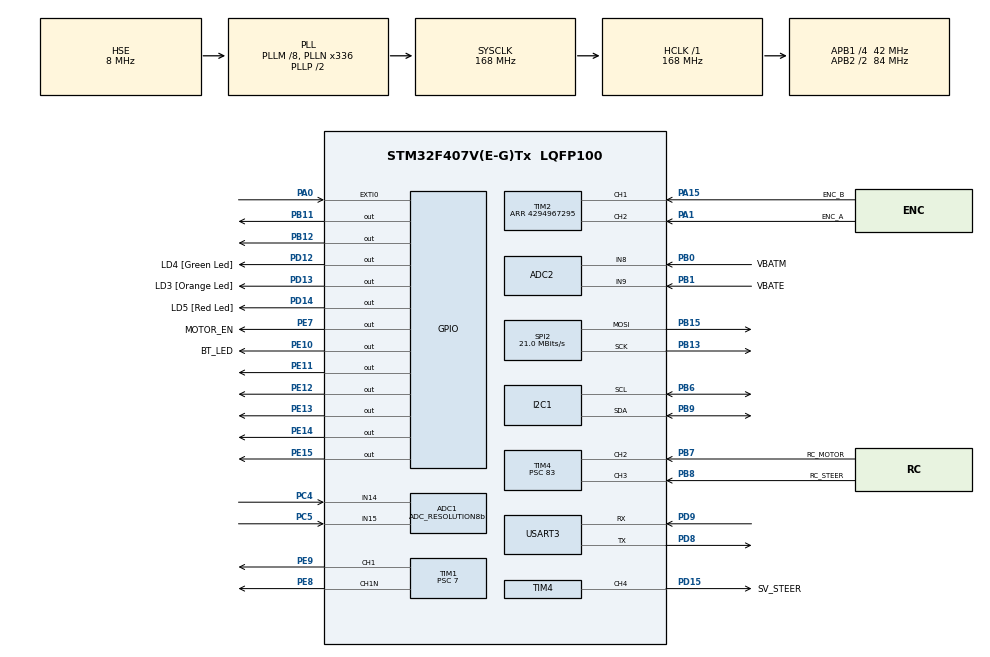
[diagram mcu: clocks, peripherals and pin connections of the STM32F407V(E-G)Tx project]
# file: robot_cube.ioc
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ADC1.Channel=ADC_CHANNEL_14
ADC1.Channel-10\#ChannelRegularConversion=ADC_CHANNEL_15
ADC1.Channel-7\#ChannelRegularConversion=ADC_CHANNEL_14
ADC1.Channel-IN14=ADC_CHANNEL_14
ADC1.DMAContinuousRequests=ENABLE
ADC1.EOCSelection=EOC_SEQ_CONV
ADC1.ExternalTrigConv=ADC_EXTERNALTRIGCONV_T3_TRGO
ADC1.ExternalTrigConvEdge=ADC_EXTERNALTRIGCONVEDGE_RISING
ADC1.Mode=__NULL
ADC1.NbrOfConversion=2
ADC1.Rank-10\#ChannelRegularConversion=2
ADC1.Resolution=ADC_RESOLUTION8b
ADC1.SamplingTime-10\#ChannelRegularConversion=ADC_SAMPLETIME_56CYCLES
ADC1.SamplingTime-7\#ChannelRegularConversion=ADC_SAMPLETIME_56CYCLES
ADC1.ScanConvMode=ENABLE
ADC1.master=1
ADC2.Channel=ADC_CHANNEL_8
ADC2.Channel-0\#ChannelRegularConversion=ADC_CHANNEL_9
ADC2.Channel-3\#ChannelRegularConversion=ADC_CHANNEL_8
ADC2.Channel-IN9=ADC_CHANNEL_9
ADC2.DMAContinuousRequests=ENABLE
ADC2.NbrOfConversion=2
ADC2.Rank-3\#ChannelRegularConversion=2
ADC2.Resolution=ADC_RESOLUTION12b
ADC2.SamplingTime-0\#ChannelRegularConversion=ADC_SAMPLETIME_56CYCLES
ADC2.SamplingTime-3\#ChannelRegularConversion=ADC_SAMPLETIME_56CYCLES
ADC2.ScanConvMode=ENABLE
Dma.ADC1.0.Channel=DMA_CHANNEL_0
Dma.ADC1.0.Direction=DMA_PERIPH_TO_MEMORY
Dma.ADC1.0.FIFOMode=DMA_FIFOMODE_DISABLE
Dma.ADC1.0.Instance=DMA2_Stream0
Dma.ADC1.0.MemDataAlignment=DMA_MDATAALIGN_HALFWORD
Dma.ADC1.0.MemInc=DMA_MINC_ENABLE
Dma.ADC1.0.Mode=DMA_CIRCULAR
Dma.ADC1.0.PeriphDataAlignment=DMA_PDATAALIGN_HALFWORD
Dma.ADC1.0.PeriphInc=DMA_PINC_DISABLE
Dma.ADC1.0.Priority=DMA_PRIORITY_HIGH
Dma.Request0=ADC1
Dma.Request1=USART3_TX
Dma.Request2=USART3_RX
Dma.USART3_RX.2.Channel=DMA_CHANNEL_4
Dma.USART3_RX.2.Direction=DMA_PERIPH_TO_MEMORY
Dma.USART3_RX.2.FIFOMode=DMA_FIFOMODE_DISABLE
Dma.USART3_RX.2.Instance=DMA1_Stream1
Dma.USART3_RX.2.MemDataAlignment=DMA_MDATAALIGN_BYTE
Dma.USART3_RX.2.MemInc=DMA_MINC_ENABLE
Dma.USART3_RX.2.Mode=DMA_CIRCULAR
Dma.USART3_RX.2.PeriphDataAlignment=DMA_PDATAALIGN_BYTE
Dma.USART3_RX.2.PeriphInc=DMA_PINC_DISABLE
Dma.USART3_RX.2.Priority=DMA_PRIORITY_HIGH
Dma.USART3_TX.1.Channel=DMA_CHANNEL_4
Dma.USART3_TX.1.Direction=DMA_MEMORY_TO_PERIPH
Dma.USART3_TX.1.FIFOMode=DMA_FIFOMODE_ENABLE
Dma.USART3_TX.1.FIFOThreshold=DMA_FIFO_THRESHOLD_1QUARTERFULL
Dma.USART3_TX.1.Instance=DMA1_Stream3
Dma.USART3_TX.1.MemBurst=DMA_MBURST_SINGLE
Dma.USART3_TX.1.MemDataAlignment=DMA_MDATAALIGN_BYTE
Dma.USART3_TX.1.MemInc=DMA_MINC_ENABLE
Dma.USART3_TX.1.Mode=DMA_NORMAL
Dma.USART3_TX.1.PeriphBurst=DMA_PBURST_SINGLE
Dma.USART3_TX.1.PeriphDataAlignment=DMA_PDATAALIGN_BYTE
Dma.USART3_TX.1.PeriphInc=DMA_PINC_DISABLE
Dma.USART3_TX.1.Priority=DMA_PRIORITY_LOW
FREERTOS.HEAP_NUMBER=1
FREERTOS.INCLUDE_vTaskDelayUntil=1
FREERTOS.INCLUDE_vTaskDelete=0
FREERTOS.INCLUDE_vTaskPrioritySet=1
FREERTOS.Tasks01=defaultTask,0,128,StartDefaultTask
FREERTOS.configCHECK_FOR_STACK_OVERFLOW=2
FREERTOS.configUSE_MALLOC_FAILED_HOOK=1
Mcu.Family=STM32F4
Mcu.Name=STM32F407V(E-G)Tx
Mcu.Package=LQFP100
NVIC.DMA1_Stream1_IRQn=true\:5\:0\:true
NVIC.DMA1_Stream3_IRQn=true\:5\:0\:true
NVIC.DMA2_Stream0_IRQn=true\:5\:0\:true
NVIC.EXTI0_IRQn=true\:5\:0\:true
NVIC.PriorityGroup=NVIC_PRIORITYGROUP_4
NVIC.SPI2_IRQn=true\:5\:0\:true
NVIC.TIM4_IRQn=true\:5\:0\:true
NVIC.TIM6_DAC_IRQn=true\:5\:0\:true
NVIC.USART3_IRQn=true\:5\:0\:false
PA0-WKUP.GPIO_ModeDefaultEXTI=GPIO_MODE_IT_RISING
PA0-WKUP.GPIO_PuPd=GPIO_NOPULL
PA0-WKUP.Signal=GPXTI0
PA1.GPIO_Label=ENC_A
PA1.GPIO_ModeDefaultPP=GPIO_MODE_AF_PP
PA1.GPIO_PuPd=GPIO_NOPULL
PA1.GPIO_Speed=GPIO_SPEED_LOW
PA1.Signal=S_TIM2_CH2
PA15.GPIO_Label=ENC_B
PA15.GPIO_ModeDefaultPP=GPIO_MODE_AF_PP
PA15.GPIO_PuPd=GPIO_NOPULL
PA15.GPIO_Speed=GPIO_SPEED_LOW
PA15.Signal=S_TIM2_CH1_ETR
PB0.GPIO_Label=VBATM
PB0.GPIO_Mode=GPIO_MODE_ANALOG
PB0.GPIO_PuPd=GPIO_NOPULL
PB0.Signal=ADCx_IN8
PB1.GPIO_Label=VBATE
PB1.GPIO_Mode=GPIO_MODE_ANALOG
PB1.GPIO_PuPd=GPIO_NOPULL
PB1.Signal=ADCx_IN9
PB11.Signal=GPIO_Output
PB12.Signal=GPIO_Output
PB13.Mode=TX_Only_Simplex_Unidirect_Master
PB13.Signal=SPI2_SCK
PB15.Mode=TX_Only_Simplex_Unidirect_Master
PB15.Signal=SPI2_MOSI
PB6.Mode=I2C
PB6.Signal=I2C1_SCL
PB7.GPIO_Label=RC_MOTOR
PB7.GPIO_ModeDefaultPP=GPIO_MODE_AF_PP
PB7.GPIO_PuPd=GPIO_NOPULL
PB7.GPIO_Speed=GPIO_SPEED_LOW
PB7.Signal=S_TIM4_CH2
PB8.GPIO_Label=RC_STEER
PB8.GPIO_ModeDefaultPP=GPIO_MODE_AF_PP
PB8.GPIO_PuPd=GPIO_NOPULL
PB8.GPIO_Speed=GPIO_SPEED_LOW
PB8.Signal=S_TIM4_CH3
PB9.Mode=I2C
PB9.Signal=I2C1_SDA
PC4.Signal=ADCx_IN14
PC5.Signal=ADCx_IN15
PD12.GPIO_Label=LD4 [Green Led]
PD12.GPIO_ModeDefaultOutputPP=GPIO_MODE_OUTPUT_PP
PD12.GPIO_PuPd=GPIO_NOPULL
PD12.GPIO_Speed=GPIO_SPEED_LOW
PD12.Signal=GPIO_Output
PD13.GPIO_Label=LD3 [Orange Led]
PD13.GPIO_ModeDefaultOutputPP=GPIO_MODE_OUTPUT_PP
PD13.GPIO_PuPd=GPIO_NOPULL
PD13.GPIO_Speed=GPIO_SPEED_LOW
PD13.Signal=GPIO_Output
PD14.GPIO_Label=LD5 [Red Led]
PD14.GPIO_ModeDefaultOutputPP=GPIO_MODE_OUTPUT_PP
PD14.GPIO_PuPd=GPIO_NOPULL
PD14.GPIO_Speed=GPIO_SPEED_LOW
PD14.Signal=GPIO_Output
PD15.GPIO_Label=SV_STEER
PD15.GPIO_ModeDefaultPP=GPIO_MODE_AF_PP
PD15.GPIO_PuPd=GPIO_NOPULL
PD15.GPIO_Speed=GPIO_SPEED_LOW
PD15.Signal=S_TIM4_CH4
PD8.Mode=Asynchronous
PD8.Signal=USART3_TX
PD9.Mode=Asynchronous
PD9.Signal=USART3_RX
PE10.GPIO_Label=BT_LED
PE10.GPIO_ModeDefaultOutputPP=GPIO_MODE_OUTPUT_PP
PE10.GPIO_PuPd=GPIO_NOPULL
PE10.GPIO_Speed=GPIO_SPEED_MEDIUM
PE10.Signal=GPIO_Output
PE11.Signal=GPIO_Output
PE12.Signal=GPIO_Output
PE13.Signal=GPIO_Output
PE14.Signal=GPIO_Output
PE15.Signal=GPIO_Output
PE7.GPIO_Label=MOTOR_EN
PE7.GPIO_ModeDefaultOutputPP=GPIO_MODE_OUTPUT_PP
PE7.GPIO_PuPd=GPIO_NOPULL
PE7.GPIO_Speed=GPIO_SPEED_MEDIUM
PE7.Signal=GPIO_Output
PE8.GPIO_ModeDefaultPP=GPIO_MODE_AF_PP
PE8.GPIO_PuPd=GPIO_PULLUP
PE8.GPIO_Speed=GPIO_SPEED_MEDIUM
PE8.Mode=PWM Generation1 CH1 CH1N
PE8.Signal=TIM1_CH1N
PE9.GPIO_ModeDefaultPP=GPIO_MODE_AF_PP
PE9.GPIO_PuPd=GPIO_PULLUP
PE9.GPIO_Speed=GPIO_SPEED_MEDIUM
PE9.Signal=S_TIM1_CH1
PH0-OSC_IN.GPIO_Label=PH0-OSC_IN
PH0-OSC_IN.Mode=HSE-External-Oscillator
PH0-OSC_IN.Signal=RCC_OSC_IN
PH1-OSC_OUT.GPIO_Label=PH1-OSC_OUT
PH1-OSC_OUT.Mode=HSE-External-Oscillator
PH1-OSC_OUT.Signal=RCC_OSC_OUT
ProjectManager.TargetToolchain=TrueSTUDIO 4.3.1
RCC.48MHZClocksFreq_Value=48000000
RCC.AHBFreq_Value=168000000
RCC.APB1CLKDivider=RCC_HCLK_DIV4
RCC.APB1Freq_Value=42000000
RCC.APB1TimFreq_Value=84000000
RCC.APB2CLKDivider=RCC_HCLK_DIV2
RCC.APB2Freq_Value=84000000
RCC.APB2TimFreq_Value=168000000
RCC.CortexFreq_Value=21000000
RCC.HCLKFreq_Value=168000000
RCC.HSE_VALUE=8000000
RCC.HSI_VALUE=16000000
RCC.LSE_VALUE=32768
RCC.PLLM=8
RCC.PLLN=336
RCC.PLLQ=7
RCC.PLLSource=RCC_PLLSOURCE_HSE
RCC.PLLSourceVirtual=RCC_PLLSOURCE_HSE
RCC.PLLSourceVirtualString=RCC_PLLSOURCE_HSE
RCC.SYSCLKFreq_VALUE=168000000
RCC.SYSCLKSource=RCC_SYSCLKSOURCE_PLLCLK
RCC.VCOOutputFreq_Value=336000000
SH.ADCx_IN14.0=ADC1_IN14,IN14
SH.ADCx_IN15.0=ADC1_IN15,IN15
SH.ADCx_IN8.0=ADC2_IN8,IN8
SH.ADCx_IN9.0=ADC2_IN9,IN9
SH.S_TIM1_CH1.0=TIM1_CH1,PWM Generation1 CH1 CH1N
SH.S_TIM2_CH1_ETR.0=TIM2_CH1,Encoder_Interface
SH.S_TIM2_CH2.0=TIM2_CH2,Encoder_Interface
SH.S_TIM4_CH2.0=TIM4_CH2,Input_Capture2_from_TI2
SH.S_TIM4_CH2.1=TIM4_CH2,TriggerSource_TI2FP2
SH.S_TIM4_CH2.2=TIM4_CH2,Input_Capture1_from_TI2
SH.S_TIM4_CH3.0=TIM4_CH3,Input_Capture3_from_TI3
SH.S_TIM4_CH4.0=TIM4_CH4,PWM Generation4 CH4
SPI2.CalculateBaudRate=21.0 MBits/s
SPI2.Mode=SPI_MODE_MASTER
TIM1.OCFastMode_PWM-PWM\ Generation1\ CH1\ CH1N=TIM_OCFAST_ENABLE
TIM1.Period=999
TIM1.Prescaler=7
TIM1.Pulse-PWM\ Generation1\ CH1\ CH1N=250
TIM2.EncoderMode=TIM_ENCODERMODE_TI12
TIM2.Period=4294967295
TIM3.Period=359
TIM3.Prescaler=41
TIM3.TIM_MasterOutputTrigger=TIM_TRGO_UPDATE
TIM3.TIM_MasterSlaveMode=TIM_MASTERSLAVEMODE_ENABLE
TIM4.Channel-Input_Capture2_from_TI2=TIM_CHANNEL_2
TIM4.Channel-Input_Capture3_from_TI3=TIM_CHANNEL_3
TIM4.Channel-PWM\ Generation4\ CH4=TIM_CHANNEL_4
TIM4.ICSelection-Input_Capture1_from_TI2=TIM_ICSELECTION_INDIRECTTI
TIM4.ICSelection-Input_Capture2_from_TI2=TIM_ICSELECTION_DIRECTTI
TIM4.ICSelection-Input_Capture3_from_TI3=TIM_ICSELECTION_DIRECTTI
TIM4.OCFastMode_PWM-PWM\ Generation4\ CH4=TIM_OCFAST_DISABLE
TIM4.Period=65535
TIM4.Prescaler=83
TIM4.Pulse-PWM\ Generation4\ CH4=1500
TIM6.Period=999
TIM6.Prescaler=839
VP_FREERTOS_VS_ENABLE.Mode=Enabled
VP_TIM3_VS_ClockSourceINT.Mode=Internal
VP_TIM4_VS_ControllerModeReset.Mode=Reset Mode
VP_TIM6_VS_ClockSourceINT.Mode=Enable_Timer

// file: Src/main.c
/**
  ******************************************************************************
  * File Name          : main.c
  * Date               : 22/01/2015 14:49:37
  * Description        : Main program body
  ******************************************************************************
  *
  * COPYRIGHT(c) 2015 STMicroelectronics
  *
  * Redistribution and use in source and binary forms, with or without modification,
  * are permitted provided that the following conditions are met:
  *   1. Redistributions of source code must retain the above copyright notice,
  *      this list of conditions and the following disclaimer.
  *   2. Redistributions in binary form must reproduce the above copyright notice,
  *      this list of conditions and the following disclaimer in the documentation
  *      and/or other materials provided with the distribution.
  *   3. Neither the name of STMicroelectronics nor the names of its contributors
  *      may be used to endorse or promote products derived from this software
  *      without specific prior written permission.
  *
  * THIS SOFTWARE IS PROVIDED BY THE COPYRIGHT HOLDERS AND CONTRIBUTORS "AS IS"
  * AND ANY EXPRESS OR IMPLIED WARRANTIES, INCLUDING, BUT NOT LIMITED TO, THE
  * IMPLIED WARRANTIES OF MERCHANTABILITY AND FITNESS FOR A PARTICULAR PURPOSE ARE
  * DISCLAIMED. IN NO EVENT SHALL THE COPYRIGHT HOLDER OR CONTRIBUTORS BE LIABLE
  * FOR ANY DIRECT, INDIRECT, INCIDENTAL, SPECIAL, EXEMPLARY, OR CONSEQUENTIAL
  * DAMAGES (INCLUDING, BUT NOT LIMITED TO, PROCUREMENT OF SUBSTITUTE GOODS OR
  * SERVICES; LOSS OF USE, DATA, OR PROFITS; OR BUSINESS INTERRUPTION) HOWEVER
  * CAUSED AND ON ANY THEORY OF LIABILITY, WHETHER IN CONTRACT, STRICT LIABILITY,
  * OR TORT (INCLUDING NEGLIGENCE OR OTHERWISE) ARISING IN ANY WAY OUT OF THE USE
  * OF THIS SOFTWARE, EVEN IF ADVISED OF THE POSSIBILITY OF SUCH DAMAGE.
  *
  ******************************************************************************
  */

#include "stm32f4xx_hal.h"
#include "cmsis_os.h"
#include "adc.h"
#include "dma.h"
#include "i2c.h"
#include "spi.h"
#include "tim.h"
#include "usart.h"
#include "gpio.h"

/* USER CODE BEGIN Includes */
#include "encoder.h"
#include "radio.h"
#include "motor.h"
#include "sensor.h"
#include "linesensor.h"
#include "stm32f4_discovery_accelerometer.h"
#include "stm32f4_discovery_gyroscope.h"

#include "communication.h"
#include "motorcontrol.h"
#include "analog.h"
#include "deadreckoning.h"
/* USER CODE END Includes */

void SystemClock_Config(void);
void MX_FREERTOS_Init(void);

int main(void)
{

  /* MCU Configuration----------------------------------------------------------*/

  /* Reset of all peripherals, Initializes the Flash interface and the Systick. */
  HAL_Init();

  /* Configure the system clock */
  SystemClock_Config();

  /* Initialize all configured peripherals */
  MX_GPIO_Init();
  MX_DMA_Init();
  MX_ADC1_Init();
  MX_ADC2_Init();
  MX_I2C1_Init();
  MX_SPI2_Init();
  MX_TIM1_Init();
  MX_TIM2_Init();
  MX_TIM3_Init();
  MX_TIM4_Init();
  MX_TIM6_Init();
  MX_USART3_UART_Init();

  /* USER CODE BEGIN 2 */
	BSP_Motor_Init();
	BSP_Radio_Init();
	BSP_Encoder_Init();
	BSP_Sensor_Init();
	BSP_ACCELERO_Init();
	BSP_GYRO_Init();
	BSP_Line_Init();

	BSP_Radio_ConnectServo(ENABLE);
	BSP_Radio_ServoStatus(ENABLE);
	//HAL_GPIO_WritePin(GPIOD, GPIO_PIN_14, GPIO_PIN_SET);
  /* USER CODE END 2 */

  /* Call init function for freertos objects (in freertos.c) */
  MX_FREERTOS_Init();

  /* Start scheduler */
  osKernelStart();

  /* We should never get here as control is now taken by the scheduler */

	while (1) {
	}

}

/** System Clock Configuration
*/
void SystemClock_Config(void)
{

  RCC_OscInitTypeDef RCC_OscInitStruct;
  RCC_ClkInitTypeDef RCC_ClkInitStruct;

  __PWR_CLK_ENABLE();

  __HAL_PWR_VOLTAGESCALING_CONFIG(PWR_REGULATOR_VOLTAGE_SCALE1);

  RCC_OscInitStruct.OscillatorType = RCC_OSCILLATORTYPE_HSE;
  RCC_OscInitStruct.HSEState = RCC_HSE_ON;
  RCC_OscInitStruct.PLL.PLLState = RCC_PLL_ON;
  RCC_OscInitStruct.PLL.PLLSource = RCC_PLLSOURCE_HSE;
  RCC_OscInitStruct.PLL.PLLM = 8;
  RCC_OscInitStruct.PLL.PLLN = 336;
  RCC_OscInitStruct.PLL.PLLP = RCC_PLLP_DIV2;
  RCC_OscInitStruct.PLL.PLLQ = 7;
  HAL_RCC_OscConfig(&RCC_OscInitStruct);

  RCC_ClkInitStruct.ClockType = RCC_CLOCKTYPE_SYSCLK|RCC_CLOCKTYPE_PCLK1
                              |RCC_CLOCKTYPE_PCLK2;
  RCC_ClkInitStruct.SYSCLKSource = RCC_SYSCLKSOURCE_PLLCLK;
  RCC_ClkInitStruct.AHBCLKDivider = RCC_SYSCLK_DIV1;
  RCC_ClkInitStruct.APB1CLKDivider = RCC_HCLK_DIV4;
  RCC_ClkInitStruct.APB2CLKDivider = RCC_HCLK_DIV2;
  HAL_RCC_ClockConfig(&RCC_ClkInitStruct, FLASH_LATENCY_5);

}

/* USER CODE BEGIN 4 */
void HAL_GPIO_EXTI_Callback(uint16_t GPIO_Pin __attribute__((unused))) {
	if (getRemoteControllerState() == ENABLE) {
		setRemoteControllerState(DISABLE);
		HAL_GPIO_WritePin(GPIOD, GPIO_PIN_14, GPIO_PIN_RESET);
		//BSP_Radio_ConnectServo(DISABLE);
	} else {
		setRemoteControllerState(ENABLE);
		HAL_GPIO_WritePin(GPIOD, GPIO_PIN_14, GPIO_PIN_SET);
		//BSP_Radio_ConnectServo(ENABLE);
	}
}
/* USER CODE END 4 */

void StartDefaultTask(void const * argument)
{

  /* USER CODE BEGIN 5 */
	osThreadSetPriority(NULL, osPriorityLow);
	/* Infinite loop */
	for (;;) {
		osDelay(500);

		HAL_GPIO_TogglePin(GPIOD, GPIO_PIN_12);
	}

  /* USER CODE END 5 */

}

#ifdef USE_FULL_ASSERT

/**
   * @brief Reports the name of the source file and the source line number
   * where the assert_param error has occurred.
   * @param file: pointer to the source file name
   * @param line: assert_param error line source number
   * @retval None
   */
void assert_failed(uint8_t* file, uint32_t line)
{
  /* USER CODE BEGIN 6 */
/* User can add his own implementation to report the file name and line number,
ex: printf("Wrong parameters value: file %s on line %d\r\n", file, line) */
	uint32_t i = 0;
while (1) {
	if(++i >= 0x7ffff) {
		HAL_GPIO_TogglePin(GPIOD, GPIO_PIN_12);
		i = 0;
	}
}
  /* USER CODE END 6 */

}

#endif

/************************ (C) COPYRIGHT STMicroelectronics *****END OF FILE****/

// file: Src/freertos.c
/**
  ******************************************************************************
  * File Name          : freertos.c
  * Date               : 22/01/2015 14:49:34
  * Description        : Code for freertos applications
  ******************************************************************************
  *
  * COPYRIGHT(c) 2015 STMicroelectronics
  *
  * Redistribution and use in source and binary forms, with or without modification,
  * are permitted provided that the following conditions are met:
  *   1. Redistributions of source code must retain the above copyright notice,
  *      this list of conditions and the following disclaimer.
  *   2. Redistributions in binary form must reproduce the above copyright notice,
  *      this list of conditions and the following disclaimer in the documentation
  *      and/or other materials provided with the distribution.
  *   3. Neither the name of STMicroelectronics nor the names of its contributors
  *      may be used to endorse or promote products derived from this software
  *      without specific prior written permission.
  *
  * THIS SOFTWARE IS PROVIDED BY THE COPYRIGHT HOLDERS AND CONTRIBUTORS "AS IS"
  * AND ANY EXPRESS OR IMPLIED WARRANTIES, INCLUDING, BUT NOT LIMITED TO, THE
  * IMPLIED WARRANTIES OF MERCHANTABILITY AND FITNESS FOR A PARTICULAR PURPOSE ARE
  * DISCLAIMED. IN NO EVENT SHALL THE COPYRIGHT HOLDER OR CONTRIBUTORS BE LIABLE
  * FOR ANY DIRECT, INDIRECT, INCIDENTAL, SPECIAL, EXEMPLARY, OR CONSEQUENTIAL
  * DAMAGES (INCLUDING, BUT NOT LIMITED TO, PROCUREMENT OF SUBSTITUTE GOODS OR
  * SERVICES; LOSS OF USE, DATA, OR PROFITS; OR BUSINESS INTERRUPTION) HOWEVER
  * CAUSED AND ON ANY THEORY OF LIABILITY, WHETHER IN CONTRACT, STRICT LIABILITY,
  * OR TORT (INCLUDING NEGLIGENCE OR OTHERWISE) ARISING IN ANY WAY OUT OF THE USE
  * OF THIS SOFTWARE, EVEN IF ADVISED OF THE POSSIBILITY OF SUCH DAMAGE.
  *
  ******************************************************************************
  */

#include "FreeRTOS.h"
#include "task.h"
#include "cmsis_os.h"

/* USER CODE BEGIN Includes */
#include "stm32f4xx.h"

#include "deadreckoning.h"
#include "motorcontrol.h"
#include "communication.h"
/* USER CODE END Includes */

osThreadId defaultTaskHandle;

void StartDefaultTask(void const * argument);

/* Hook prototypes */
void vApplicationStackOverflowHook(xTaskHandle xTask, signed char *pcTaskName);
void vApplicationMallocFailedHook(void);

/* USER CODE BEGIN 4 */
void vApplicationStackOverflowHook(xTaskHandle xTask, signed char *pcTaskName) {
	/* Run time stack overflow checking is performed if
	 configCHECK_FOR_STACK_OVERFLOW is defined to 1 or 2. This hook function is
	 called if a stack overflow is detected. */
	uint32_t i = 0;
	while (1) {
		if (++i >= 0x7ffff) {
			HAL_GPIO_TogglePin(GPIOD, GPIO_PIN_14);
			i = 0;
		}
	}
}
/* USER CODE END 4 */

/* USER CODE BEGIN 5 */
void vApplicationMallocFailedHook(void) {
	/* vApplicationMallocFailedHook() will only be called if
	 configUSE_MALLOC_FAILED_HOOK is set to 1 in FreeRTOSConfig.h. It is a hook
	 function that will get called if a call to pvPortMalloc() fails.
	 pvPortMalloc() is called internally by the kernel whenever a task, queue,
	 timer or semaphore is created. It is also called by various parts of the
	 demo application. If heap_1.c or heap_2.c are used, then the size of the
	 heap available to pvPortMalloc() is defined by configTOTAL_HEAP_SIZE in
	 FreeRTOSConfig.h, and the xPortGetFreeHeapSize() API function can be used
	 to query the size of free heap space that remains (although it does not
	 provide information on how the remaining heap might be fragmented). */
	uint32_t i = 0;
	while (1) {
		if (++i >= 0x1fffff) {
			HAL_GPIO_TogglePin(GPIOD, GPIO_PIN_14);
			i = 0;
		}
	}
}
/* USER CODE END 5 */

/* Init FreeRTOS */

void MX_FREERTOS_Init() {

  /* Create the thread(s) */
  /* definition and creation of defaultTask */
  osThreadDef(defaultTask, StartDefaultTask, osPriorityNormal, 0, 128);
  defaultTaskHandle = osThreadCreate(osThread(defaultTask), NULL);

  /* USER CODE BEGIN RTOS_THREADS */
	/* Analog sensors (battery) */
	//osThreadDef(ANALOG_Thread, AnalogThread, osPriorityNormal, 0, configMINIMAL_STACK_SIZE);
	//osThreadCreate(osThread(ANALOG_Thread), NULL);

	/* Communication thread */
	osThreadDef(COMM_Thread, CommThread, osPriorityNormal, 0, configMINIMAL_STACK_SIZE + 128);
	osThreadCreate(osThread(COMM_Thread), NULL);

	/* Motor controller thread */
	osThreadDef(MOTOR_Thread, MotorThread, osPriorityAboveNormal, 0, configMINIMAL_STACK_SIZE + 128);
	osThreadCreate(osThread(MOTOR_Thread), NULL);

	/* Dead-reckoning */
	osThreadDef(DR_Thread, DeadReckoningThread, osPriorityNormal, 0, configMINIMAL_STACK_SIZE + 128);
	osThreadCreate(osThread(DR_Thread), NULL);
  /* USER CODE END RTOS_THREADS */

}

/************************ (C) COPYRIGHT STMicroelectronics *****END OF FILE****/
